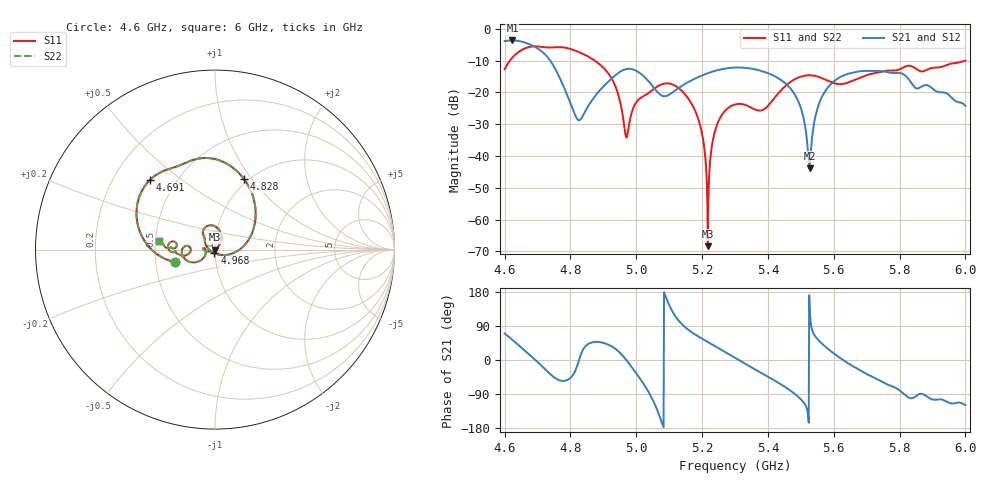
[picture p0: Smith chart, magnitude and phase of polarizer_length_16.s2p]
! TOUCHSTONE file generated by CST MICROWAVE STUDIO
! Date and time: Sun Dec  1 17:17:02 2024
! Project name: test_tuning.cst
! Parameters = {airCoaxOuterDiameter=3; chamferAngle=45; chamferWidth=24; connectorLength=10; drillingHoleDiameter=4.1; feedLength=60; flareDiameter=130; flareLength=70; gratingDistance=0; gratingGap=1.90274; outletLength=30; polarizerLength=94; probe1Diameter=1.3; probe1Distance=14; probe1Length=12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
! Header version: 2024
! Port assignment regex: !\s*Touchstone port\s*([0-9]+)\s*=\s*(CST MWS port|CST DES external port|CST DES block port)\s*(.+)\s* \(\"(.*)\"\)(\s*mode\s*([0-9]+))?.*
! Touchstone port assignment:
! Touchstone port 1 = CST MWS port 1 ("Input1")
! Touchstone port 2 = CST MWS port 2 ("Input2")
# GHz S MA R 50
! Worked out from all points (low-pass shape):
!   1001 points, 4.6 GHz to 6 GHz, reference 50 ohm
!   highest |S21| = -3.65 dB at 4.624 GHz (marker M1); lowest = -43.9 dB at 5.527 GHz (marker M2)
!   |S21| within 3 dB of the highest: start of sweep to 4.707 GHz
!   lowest |S11| = -68.4 dB at 5.217 GHz (marker M3), VSWR 1.00, Z = 50 + j0.0336 ohm
!   |S11| at or under -10 dB: start of sweep to 4.616251 GHz; 4.874 GHz to 6 GHz (1.126 GHz wide, 20.7 % of centre)
!   |S22| runs from -68.4 to -5.5 dB; largest |S21 - S12| = 5.6e-07
!   S11 on the Smith chart (normalised r, x): 4.6 GHz: 0.63, -0.09; 4.691 GHz: 0.36, +0.39; 4.828 GHz: 0.95, +0.92; 4.968 GHz: 0.99, -0.04; 6 GHz: 0.52, +0.06
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4.6  0.2323 -162.5  0.6417 69.9  0.6417 69.9  0.2323 -162.5
4.6238  0.353 -180.0  0.6567 53.2  0.6567 53.2  0.353 -180.0
4.691  0.5309 132.8  0.5237 2.0  0.5237 2.0  0.5309 132.8
4.8282  0.4257 67.9  0.03669 5.7  0.03669 5.7  0.4257 67.9
4.8338  0.4133 65.1  0.03946 19.1  0.03946 19.1  0.4133 65.1
4.9248  0.1668 8.7  0.1641 36.2  0.1641 36.2  0.1668 8.7
4.9682  0.0204 -97.9  0.2321 1.6  0.2321 1.6  0.0204 -97.9
5.0676  0.1268 121.0  0.09754 -140.7  0.09754 -140.7  0.1268 121.0
5.174  0.05822 55.2  0.1608 70.1  0.1608 70.1  0.05822 55.2
5.2006  0.02145 42.0  0.1855 55.9  0.1855 55.9  0.02145 42.0
5.2174  0.0003808 118.1  0.2004 47.5  0.2004 47.5  0.0003814 118.1
5.244  0.02954 -158.7  0.2216 34.2  0.2216 34.2  0.02954 -158.7
5.3  0.0645 178.7  0.2462 5.8  0.2462 5.8  0.0645 178.7
5.384  0.05277 -164.5  0.2142 -36.3  0.2142 -36.3  0.05277 -164.5
5.468  0.1454 -150.7  0.1161 -80.6  0.1161 -80.6  0.1454 -150.7
5.5016  0.1781 -164.3  0.05348 -104.9  0.05348 -104.9  0.1781 -164.3
5.5268  0.1859 -174.9  0.006403 141.6  0.006403 141.6  0.1859 -174.9
5.5338  0.1852 -177.7  0.01844 80.5  0.01844 80.5  0.1852 -177.7
5.5548  0.1749 175.3  0.06509 51.3  0.06509 51.3  0.1749 175.3
5.5968  0.1424 174.0  0.1434 19.7  0.1434 19.7  0.1424 174.0
5.7676  0.2206 -176.8  0.2058 -66.3  0.2058 -66.3  0.2206 -176.8
6  0.3163 171.2  0.06128 -119.4  0.06128 -119.4  0.3163 171.2
